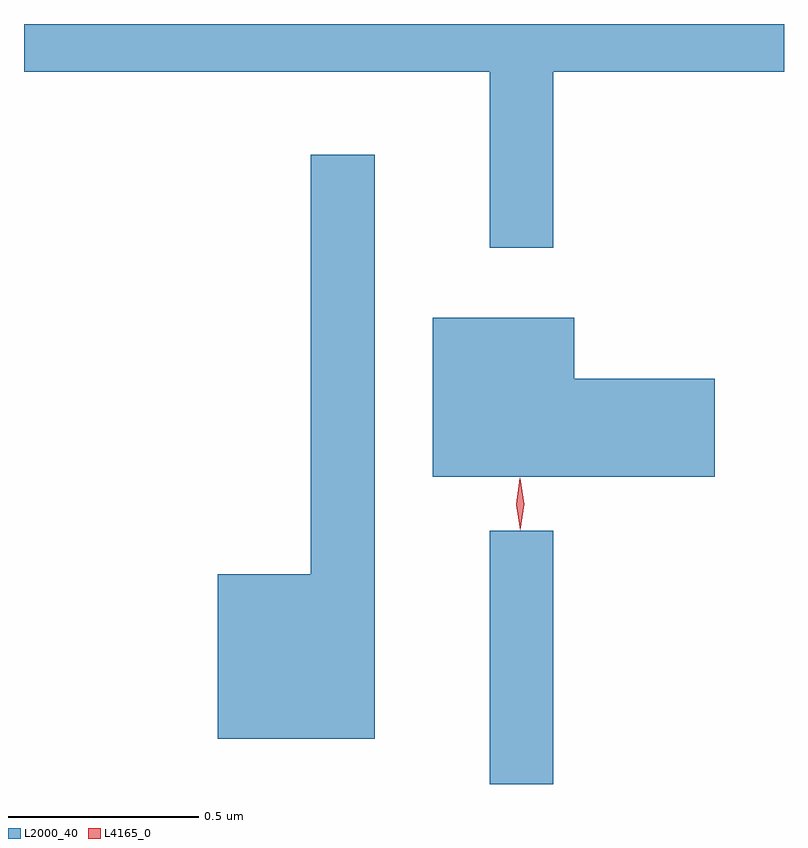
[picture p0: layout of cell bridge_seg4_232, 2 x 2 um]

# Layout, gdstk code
import gdstk
lib = gdstk.Library(unit=1e-6, precision=1e-09)
def R(c, l, rs):  # rectangles x0, y0, x1, y1
    for r in rs: c.add(gdstk.rectangle(r[:2], r[2:], *l))
def P(c, l, *ps):  # polygons
    for p in ps: c.add(gdstk.Polygon(p, *l))
L2000_40 = (2000, 40)
L4165_0 = (4165, 0)

bridge_seg4_232 = lib.new_cell('bridge_seg4_232')
R(bridge_seg4_232, L2000_40, [(730.681,1368.342,730.849,1369.008)])
P(bridge_seg4_232, L2000_40, [(730.849,1370.216),(731.456,1370.216),(731.456,1370.342),(729.456,1370.342),(729.456,1370.216),(730.681,1370.216),(730.681,1369.753),(730.849,1369.753)],
  [(730.379,1369.998),(730.211,1369.998),(730.211,1368.894),(729.966,1368.894),(729.966,1368.461),(730.379,1368.461)],
  [(731.274,1369.409),(730.904,1369.409),(730.904,1369.569),(730.531,1369.569),(730.531,1369.151),(731.274,1369.151)])
P(bridge_seg4_232, L4165_0, [(730.762,1369.01),(730.762,1369.01),(730.752,1369.078),(730.761,1369.146),(730.761,1369.146),(730.762,1369.146),(730.772,1369.078),(730.762,1369.01)],
  [(730.762,1369.013),(730.762,1369.013),(730.751,1369.076),(730.76,1369.139),(730.761,1369.14),(730.761,1369.139),(730.771,1369.076),(730.762,1369.013)])

lib.write_gds('bridge_seg4_232.gds')
